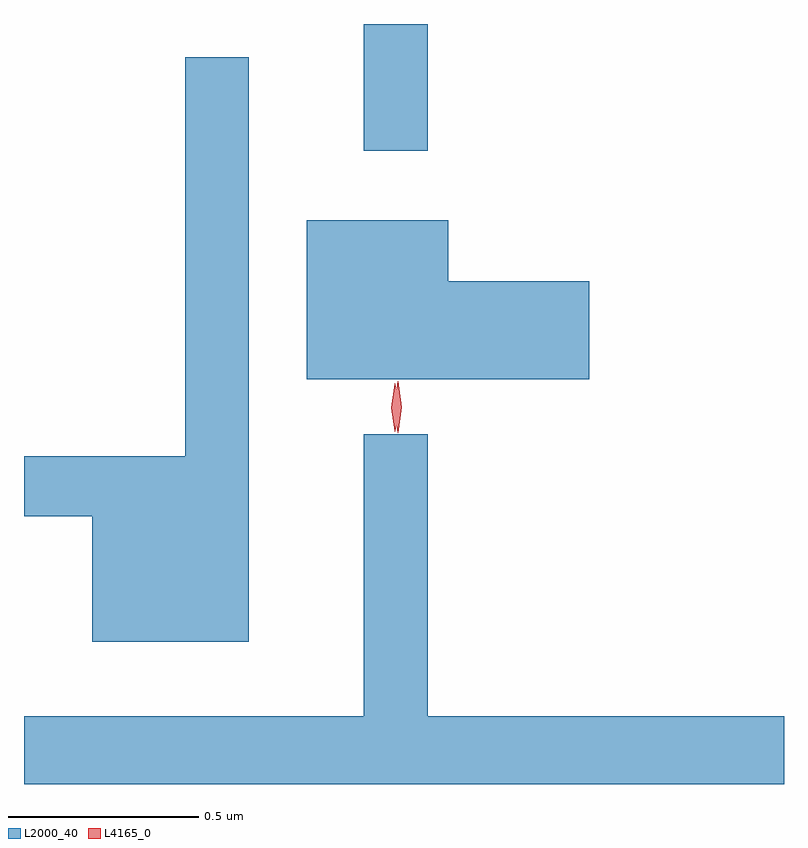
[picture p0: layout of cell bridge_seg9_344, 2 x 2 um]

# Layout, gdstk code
import gdstk
lib = gdstk.Library(unit=1e-6, precision=1e-09)
def R(c, l, rs):  # rectangles x0, y0, x1, y1
    for r in rs: c.add(gdstk.rectangle(r[:2], r[2:], *l))
def P(c, l, *ps):  # polygons
    for p in ps: c.add(gdstk.Polygon(p, *l))
L2000_40 = (2000, 40)
L4165_0 = (4165, 0)

bridge_seg9_344 = lib.new_cell('bridge_seg9_344')
R(bridge_seg9_344, L2000_40, [(659.641,2049.073,659.809,2049.406)])
P(bridge_seg9_344, L2000_40, [(659.339,2049.318),(659.171,2049.318),(659.171,2048.269),(658.747,2048.269),(658.747,2048.111),(658.926,2048.111),(658.926,2047.781),(659.339,2047.781)],
  [(660.234,2048.729),(659.864,2048.729),(659.864,2048.889),(659.491,2048.889),(659.491,2048.471),(660.234,2048.471)],
  [(660.747,2047.584),(659.809,2047.584),(659.809,2048.327),(659.641,2048.327),(659.641,2047.584),(658.747,2047.584),(658.747,2047.406),(660.747,2047.406)])
P(bridge_seg9_344, L4165_0, [(659.731,2048.33),(659.731,2048.33),(659.721,2048.398),(659.731,2048.466),(659.731,2048.466),(659.732,2048.466),(659.741,2048.398),(659.732,2048.33)],
  [(659.723,2048.333),(659.723,2048.334),(659.713,2048.396),(659.723,2048.459),(659.723,2048.46),(659.724,2048.459),(659.733,2048.396),(659.724,2048.334)])

lib.write_gds('bridge_seg9_344.gds')
